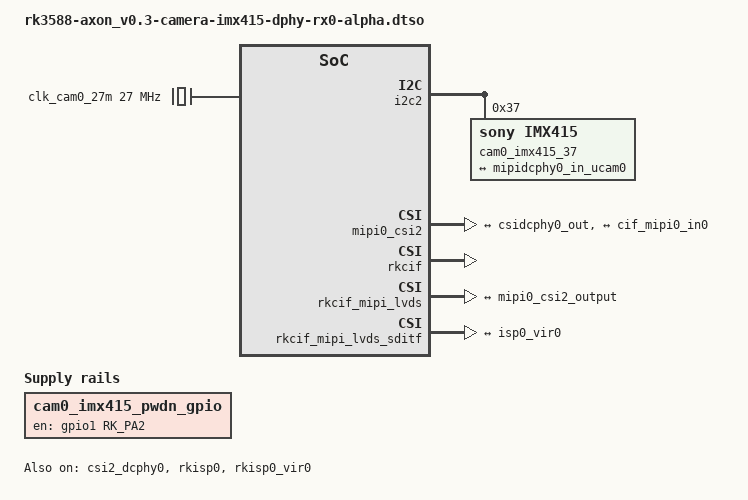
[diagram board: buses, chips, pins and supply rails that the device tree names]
// SPDX-License-Identifier: GPL-2.0+
// Copyright (C) 2026 Vicharak Computers PVT LTD

/dts-v1/;
/plugin/;

#include <dt-bindings/gpio/gpio.h>
#include <dt-bindings/pinctrl/rockchip.h>

&{/} {
	metadata {
		title = "Enable 8.3MP Camera (IMX415) on dphy RX0 Alpha Axon V0.3";
		compatible = "vicharak,rk3588-axon", "rockchip,rk3588";
		category = "camera";
		exclusive = "cam0", "imx415_2_37", "csi2_dcphy0", "mipi0_csi2", \
			    "rkcif_mipi_lvds", "rkcif_mipi_lvds_sditf", \
			    "rkisp0_vir0";
		description = "Enables IMX415 based 8.3MP Camera on
\t\tVicharak Axon at I2C 2 bus address 37 on dphy RX0";
	};

	cam0_imx415_pwdn_gpio: cam0-pwdn-gpio {
		status = "okay";
		compatible = "regulator-fixed";
		regulator-name = "cam0_pwdn_gpio";
		regulator-always-on;
		regulator-boot-on;
		enable-active-high;
		gpio = <&gpio1 RK_PA2 GPIO_ACTIVE_HIGH>;
		pinctrl-names = "default";
		pinctrl-0 = <&cam0_pwdn_gpio>;
	};

	clk_cam0_27m: external-cam0-clock-27m {
		status = "okay";
		compatible = "fixed-clock";
		clock-frequency = <27000000>;
		clock-output-names = "clk_cam0_27m";
		#clock-cells = <0>;
	};
};

&i2c2 {
	status = "okay";
	#address-cells = <1>;
	#size-cells = <0>;
	pinctrl-0 = <&i2c2m4_xfer>;

	cam0_imx415_37: cam0-imx415@37 {
		status = "okay";
		compatible = "sony,imx415";
		reg = <0x37>;

		clocks = <&clk_cam0_27m>;
		clock-names = "xvclk";

		rockchip,camera-module-index = <0>;
		rockchip,camera-module-facing = "front";
		rockchip,camera-module-name = "RADXA-CAMERA-4K";
		rockchip,camera-module-lens-name = "DEFAULT";

		port {
			cam0_imx415_out0: endpoint {
				remote-endpoint = <&mipidcphy0_in_ucam0>;
				data-lanes = <1 2>;
			};
		};
	};
};

&csi2_dcphy0 {
	status = "okay";

	ports {
		#address-cells = <1>;
		#size-cells = <0>;

		port@0 {
			reg = <0>;
			#address-cells = <1>;
			#size-cells = <0>;

			mipidcphy0_in_ucam0: endpoint@1 {
				reg = <1>;
				remote-endpoint = <&cam0_imx415_out0>;
				data-lanes = <1 2>;
			};
		};

		port@1 {
			reg = <1>;
			#address-cells = <1>;
			#size-cells = <0>;

			csidcphy0_out: endpoint@0 {
				reg = <0>;
				remote-endpoint = <&mipi0_csi2_input>;
			};
		};
	};
};

&mipi0_csi2 {
	status = "okay";

	ports {
		#address-cells = <1>;
		#size-cells = <0>;

		port@0 {
			reg = <0>;
			#address-cells = <1>;
			#size-cells = <0>;

			mipi0_csi2_input: endpoint@1 {
				reg = <1>;
				remote-endpoint = <&csidcphy0_out>;
			};
		};

		port@1 {
			reg = <1>;
			#address-cells = <1>;
			#size-cells = <0>;

			mipi0_csi2_output: endpoint@0 {
				reg = <0>;
				remote-endpoint = <&cif_mipi0_in0>;
			};
		};
	};
};

&rkcif {
	status = "okay";
};

&rkcif_mipi_lvds {
	status = "okay";

	port {
		cif_mipi0_in0: endpoint {
			remote-endpoint = <&mipi0_csi2_output>;
		};
	};
};

&rkcif_mipi_lvds_sditf {
	status = "okay";

	port {
		mipi0_lvds_sditf: endpoint {
			remote-endpoint = <&isp0_vir0>;
		};
	};
};

&rkcif_mmu {
	status = "okay";
};

&rkisp0 {
	status = "okay";
};

&isp0_mmu {
	status = "okay";
};

&rkisp0_vir0 {
	status = "okay";

	port {
		#address-cells = <1>;
		#size-cells = <0>;

		isp0_vir0: endpoint@0 {
			reg = <0>;
			remote-endpoint = <&mipi0_lvds_sditf>;
		};
	};
};

&pinctrl {
	camera {
		cam0_pwdn_gpio: cam0-pwdn-gpio {
			rockchip,pins = <1 RK_PA2 RK_FUNC_GPIO &pcfg_pull_up>;
		};
	};
};
